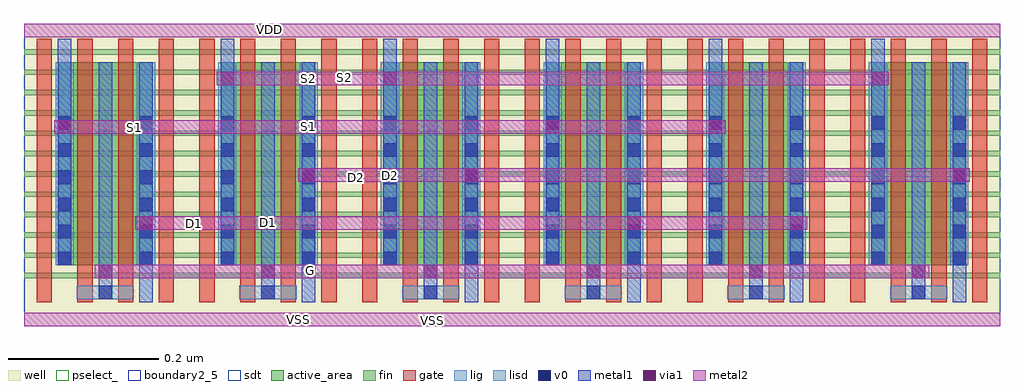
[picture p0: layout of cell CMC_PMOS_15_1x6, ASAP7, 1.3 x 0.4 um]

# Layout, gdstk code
import gdstk
lib = gdstk.Library(unit=1e-6, precision=2.5e-10)
def R(c, l, rs):  # rectangles x0, y0, x1, y1
    for r in rs: c.add(gdstk.rectangle(r[:2], r[2:], *l))
def A(c, l, x, y, w, h, nx, ny, dx, dy):  # array of equal rectangles
    R(c, l, [(x+i*dx, y+j*dy, x+i*dx+w, y+j*dy+h) for i in range(nx) for j in range(ny)])
well = (1, 0)
fin = (2, 0)
gate = (7, 0)
active_area = (11, 0)
pselect_ = (13, 0)
lig = (16, 0)
lisd = (17, 0)
v0 = (18, 0)
metal1 = (19, 0)
metal2 = (20, 0)
via1 = (21, 0)
sdt = (88, 0)
boundary2_5 = (235, 5)

m2_m1_cdns_543797865470 = lib.new_cell('M2_M1_CDNS_543797865470')
R(m2_m1_cdns_543797865470, metal1, [(-0.009,-0.014,0.009,0.014)])
R(m2_m1_cdns_543797865470, metal2, [(-0.014,-0.009,0.014,0.009)])
R(m2_m1_cdns_543797865470, via1, [(-0.009,-0.009,0.009,0.009)])

cmc_pmos_15_1x6 = lib.new_cell('CMC_PMOS_15_1x6')
A(cmc_pmos_15_1x6, well, 0, 0, 0.216, 0.402, 6, 1, 0.216, 0)
A(cmc_pmos_15_1x6, fin, 0, 0.064, 0.216, 0.007, 6, 9, 0.216, 0.027)
A(cmc_pmos_15_1x6, fin, 0, 0.361, 0.216, 0.007, 6, 1, 0.216, 0)
R(cmc_pmos_15_1x6, fin, [(0,0.307,0.216,0.314), (0,0.307,0.216,0.314), (0.216,0.307,0.432,0.314), (0.216,0.307,0.432,0.314), (0.432,0.307,0.648,0.314), (0.432,0.307,0.648,0.314), (0.648,0.307,0.864,0.314), (0.648,0.307,0.864,0.314), (0.864,0.307,1.08,0.314), (0.864,0.307,1.08,0.314), (1.08,0.307,1.296,0.314), (1.08,0.307,1.296,0.314), (0,0.334,0.216,0.341), (0,0.334,0.216,0.341), (0.216,0.334,0.432,0.341), (0.216,0.334,0.432,0.341), (0.432,0.334,0.648,0.341), (0.432,0.334,0.648,0.341), (0.648,0.334,0.864,0.341), (0.648,0.334,0.864,0.341), (0.864,0.334,1.08,0.341), (0.864,0.334,1.08,0.341), (1.08,0.334,1.296,0.341), (1.08,0.334,1.296,0.341)])
A(cmc_pmos_15_1x6, gate, 0.017, 0.032, 0.02, 0.35, 24, 1, 0.054, 0)
A(cmc_pmos_15_1x6, active_area, 0.046, 0.081, 0.124, 0.27, 6, 1, 0.216, 0)
A(cmc_pmos_15_1x6, pselect_, 0, 0, 0.216, 0.402, 6, 1, 0.216, 0)
A(cmc_pmos_15_1x6, lig, 0.07, 0.036, 0.076, 0.018, 6, 1, 0.216, 0)
A(cmc_pmos_15_1x6, lisd, 0.042, 0.081, 0.024, 0.27, 12, 1, 0.108, 0)
A(cmc_pmos_15_1x6, v0, 0.099, 0.036, 0.018, 0.018, 6, 1, 0.216, 0)
A(cmc_pmos_15_1x6, v0, 0.045, 0.081, 0.018, 0.018, 12, 6, 0.108, 0.036)
A(cmc_pmos_15_1x6, metal1, 0.153, 0.032, 0.018, 0.319, 6, 1, 0.216, 0)
A(cmc_pmos_15_1x6, metal1, 0.099, 0.036, 0.018, 0.315, 6, 1, 0.216, 0)
A(cmc_pmos_15_1x6, metal1, 0.045, 0.081, 0.018, 0.301, 6, 1, 0.216, 0)
R(cmc_pmos_15_1x6, metal1, [(0.153,0.123,0.171,0.151), (1.017,0.123,1.035,0.151)])
R(cmc_pmos_15_1x6, metal2, [(0,0,1.296,0.018), (0,0,1.296,0.018), (0.094,0.064,1.202,0.082), (0.094,0.064,1.202,0.082), (0.148,0.128,0.176,0.146), (0.148,0.128,1.04,0.146), (0.148,0.128,1.04,0.146), (1.012,0.128,1.04,0.146), (0.364,0.192,1.256,0.21), (0.364,0.192,1.256,0.21), (0.04,0.256,0.932,0.274), (0.04,0.256,0.932,0.274), (0.256,0.32,1.148,0.338), (0.256,0.32,1.148,0.338), (0,0.384,1.296,0.402), (0,0.384,1.296,0.402)])
R(cmc_pmos_15_1x6, via1, [(0.153,0.128,0.171,0.146), (1.017,0.128,1.035,0.146)])
A(cmc_pmos_15_1x6, sdt, 0.042, 0.081, 0.024, 0.27, 12, 1, 0.108, 0)
R(cmc_pmos_15_1x6, boundary2_5, [(0,0,1.296,0.402)])
cmc_pmos_15_1x6.add(gdstk.Reference(m2_m1_cdns_543797865470, (1.242,0.201)))
cmc_pmos_15_1x6.add(gdstk.Reference(m2_m1_cdns_543797865470, (1.188,0.073), x_reflection=True))
cmc_pmos_15_1x6.add(gdstk.Reference(m2_m1_cdns_543797865470, (1.134,0.329)))
cmc_pmos_15_1x6.add(gdstk.Reference(m2_m1_cdns_543797865470, (0.972,0.073), x_reflection=True))
cmc_pmos_15_1x6.add(gdstk.Reference(m2_m1_cdns_543797865470, (0.918,0.265)))
cmc_pmos_15_1x6.add(gdstk.Reference(m2_m1_cdns_543797865470, (0.486,0.329)))
cmc_pmos_15_1x6.add(gdstk.Reference(m2_m1_cdns_543797865470, (0.27,0.329)))
cmc_pmos_15_1x6.add(gdstk.Reference(m2_m1_cdns_543797865470, (0.378,0.201)))
cmc_pmos_15_1x6.add(gdstk.Reference(m2_m1_cdns_543797865470, (0.108,0.073), x_reflection=True))
cmc_pmos_15_1x6.add(gdstk.Reference(m2_m1_cdns_543797865470, (0.324,0.073), x_reflection=True))
cmc_pmos_15_1x6.add(gdstk.Reference(m2_m1_cdns_543797865470, (0.54,0.073), x_reflection=True))
cmc_pmos_15_1x6.add(gdstk.Reference(m2_m1_cdns_543797865470, (0.756,0.073), x_reflection=True))
cmc_pmos_15_1x6.add(gdstk.Reference(m2_m1_cdns_543797865470, (0.054,0.265)))
cmc_pmos_15_1x6.add(gdstk.Reference(m2_m1_cdns_543797865470, (0.702,0.265)))
cmc_pmos_15_1x6.add(gdstk.Reference(m2_m1_cdns_543797865470, (0.81,0.137)))
cmc_pmos_15_1x6.add(gdstk.Reference(m2_m1_cdns_543797865470, (0.594,0.201)))
cmc_pmos_15_1x6.add(gdstk.Label('D2', (0.442,0.198), layer=20, texttype=0))
cmc_pmos_15_1x6.add(gdstk.Label('D1', (0.227,0.136), layer=20, texttype=0))
cmc_pmos_15_1x6.add(gdstk.Label('VSS', (0.365,0.009), layer=20, texttype=0))
cmc_pmos_15_1x6.add(gdstk.Label('G', (0.381,0.074), layer=20, texttype=0))
cmc_pmos_15_1x6.add(gdstk.Label('D2', (0.486,0.201), layer=20, texttype=0))
cmc_pmos_15_1x6.add(gdstk.Label('S1', (0.378,0.265), layer=20, texttype=0))
cmc_pmos_15_1x6.add(gdstk.Label('D1', (0.324,0.138), layer=20, texttype=0))
cmc_pmos_15_1x6.add(gdstk.Label('S2', (0.378,0.329), layer=20, texttype=0))
cmc_pmos_15_1x6.add(gdstk.Label('VSS', (0.543,0.008), layer=20, texttype=0))
cmc_pmos_15_1x6.add(gdstk.Label('VDD', (0.326,0.394), layer=20, texttype=0))
cmc_pmos_15_1x6.add(gdstk.Label('S1', (0.147,0.264), layer=20, texttype=0))
cmc_pmos_15_1x6.add(gdstk.Label('S2', (0.425,0.33), layer=20, texttype=0))

lib.write_gds('CMC_PMOS_15_1x6.gds')
